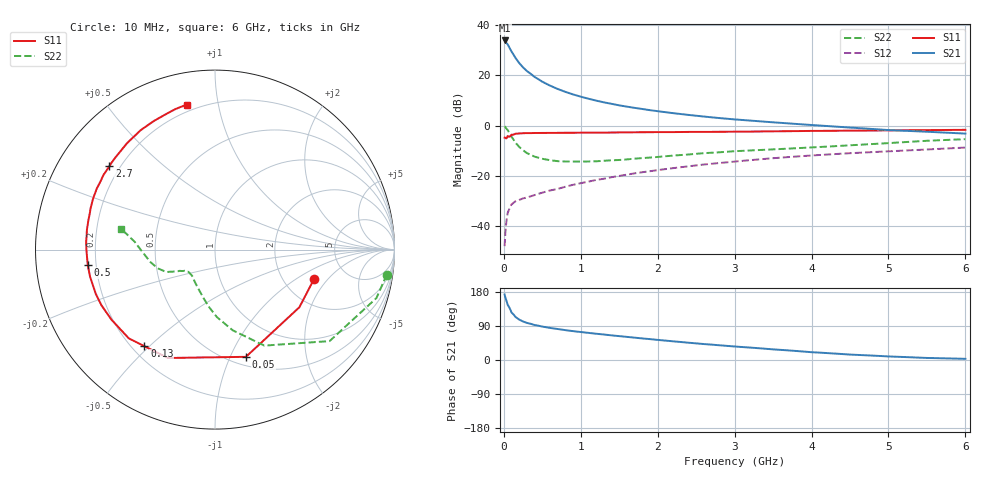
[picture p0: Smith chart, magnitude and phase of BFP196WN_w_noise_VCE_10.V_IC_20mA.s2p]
! Infineon Technologies  Discrete & RF Semiconductors
! BFP196WN
! VCE =  10. V,  IC =  20 mA
! Common Emitter S-Parameters:  Jan 2017
# GHz  S  MA  R  50
!  f  S11  S21  S12  S22
! GHz  MAG  ANG  MAG  ANG  MAG  ANG  MAG  ANG
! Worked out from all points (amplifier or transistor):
!   77 points, 10 MHz to 6 GHz, reference 50 ohm
!   highest |S21| = 33.9 dB at 10 MHz (marker M1)
!   |S21| within 3 dB of that: start of sweep to 75.03 MHz
!   unconditionally stable (mu >= 1): 950.5 MHz to 2.688 GHz
!   at 130 MHz: K = 0.31, MSG = 29.3 dB, |S12| = -30.6 dB
!   at 2.2 GHz: K = 1.03, MAG = 9.8 dB, |S12| = -16.9 dB
!   at 6 GHz: K = 0.87, MSG = 2.8 dB, |S12| = -8.7 dB
!   lowest NFmin = 0.96 dB at 450 MHz
!   S11 on the Smith chart (normalised r, x): 10 MHz: 2.96, -1.43; 50 MHz: 0.59, -1.15; 130 MHz: 0.25, -0.48; 500 MHz: 0.17, -0.06; 2.7 GHz: 0.16, +0.34; 6 GHz: 0.16, +0.81
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0.01  0.5761 -16.3  49.27 172.9  0.004 78.2  0.9671 -8.3
0.02  0.5694 -34.3  47.09 164.6  0.0076 74.4  0.9391 -16.7
0.05  0.6218 -73.9  41.2 145.5  0.0184 58.8  0.8171 -38.6
0.1  0.6584 -113.5  29.66 125.2  0.027 47.6  0.6015 -62.8
0.13  0.6665 -126.2  25.12 119.2  0.0295 43.9  0.5125 -70.7
0.15  0.6894 -134.2  22.31 113.8  0.0312 41.8  0.4603 -77.6
0.2  0.6967 -146.0  17.51 106.6  0.0332 40.3  0.3762 -88.4
0.25  0.7049 -154.0  14.35 101.6  0.0357 40.2  0.3232 -95.7
0.3  0.7085 -159.7  12.13 97.9  0.0371 40.9  0.2835 -102.2
0.4  0.7123 -167.7  9.261 92.3  0.0415 45.0  0.2412 -111.8
0.5  0.714 -173.1  7.448 88.2  0.0464 47.8  0.2186 -119.4
0.6  0.7145 -177.2  6.236 84.7  0.0512 50.2  0.2049 -125.2
0.7  0.7169 179.6  5.344 81.8  0.055 53.3  0.1961 -129.3
0.9  0.7194 173.6  4.162 76.2  0.0664 56.3  0.1929 -135.3
1.1  0.7226 169.1  3.418 71.6  0.0768 59.0  0.1931 -139.5
1.5  0.7306 161.5  2.525 63.0  0.0998 61.2  0.207 -145.3
2.1  0.7414 151.0  1.848 51.2  0.1363 61.3  0.2453 -150.5
2.7  0.7502 141.6  1.461 40.6  0.174 59.3  0.2885 -154.5
3.1  0.7577 135.5  1.292 34.2  0.1988 56.9  0.3145 -158.4
4.1  0.7848 120.6  1.003 19.5  0.2598 50.1  0.3746 -171.3
5.1  0.804 109.3  0.802 8.6  0.3128 42.9  0.4581 173.6
6  0.8235 101.0  0.693 3.1  0.3657 36.7  0.537 167.7
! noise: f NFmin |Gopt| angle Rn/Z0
0.45  0.96  0.4  169  0.05
0.9  1.1  0.5  179  0.05
1.9  2.1  0.69  210  0.12
2.4  2.86  0.7  216  0.23
